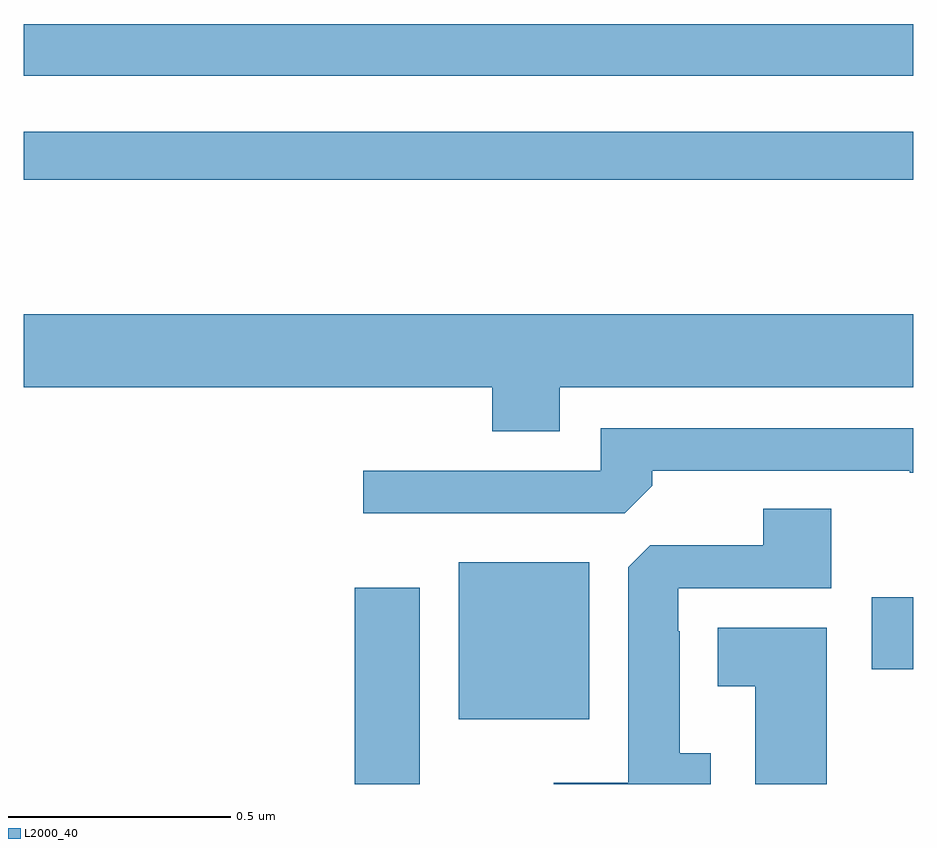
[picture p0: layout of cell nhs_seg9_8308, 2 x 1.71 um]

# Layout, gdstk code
import gdstk
lib = gdstk.Library(unit=1e-6, precision=1e-09)
def R(c, l, rs):  # rectangles x0, y0, x1, y1
    for r in rs: c.add(gdstk.rectangle(r[:2], r[2:], *l))
def P(c, l, *ps):  # polygons
    for p in ps: c.add(gdstk.Polygon(p, *l))
L2000_40 = (2000, 40)

nhs_seg9_8308 = lib.new_cell('nhs_seg9_8308')
R(nhs_seg9_8308, L2000_40, [(215.744,1223.5,215.89,1223.941), (215.978,1223.645,216.271,1223.998), (216.906,1223.758,217,1223.92), (215,1224.858,217,1224.966), (215,1225.092,217,1225.208)])
P(nhs_seg9_8308, L2000_40, [(216.205,1224.392),(217,1224.392),(217,1224.556),(215,1224.556),(215,1224.392),(216.053,1224.392),(216.053,1224.293),(216.205,1224.293)],
  [(216.413,1224.17),(216.413,1224.204),(216.992,1224.204),(216.992,1224.199),(217,1224.199),(217,1224.3),(216.297,1224.3),(216.297,1224.204),(215.763,1224.204),(215.763,1224.108),(216.351,1224.108)],
  [(216.544,1223.569),(216.475,1223.569),(216.475,1223.843),(216.471,1223.843),(216.471,1223.94),(216.815,1223.94),(216.815,1224.119),(216.662,1224.119),(216.662,1224.036),(216.408,1224.036),(216.359,1223.987),(216.359,1223.503),(216.192,1223.503),(216.192,1223.5),(216.544,1223.5)],
  [(216.805,1223.851),(216.56,1223.851),(216.56,1223.72),(216.644,1223.72),(216.644,1223.5),(216.805,1223.5)])

lib.write_gds('nhs_seg9_8308.gds')
